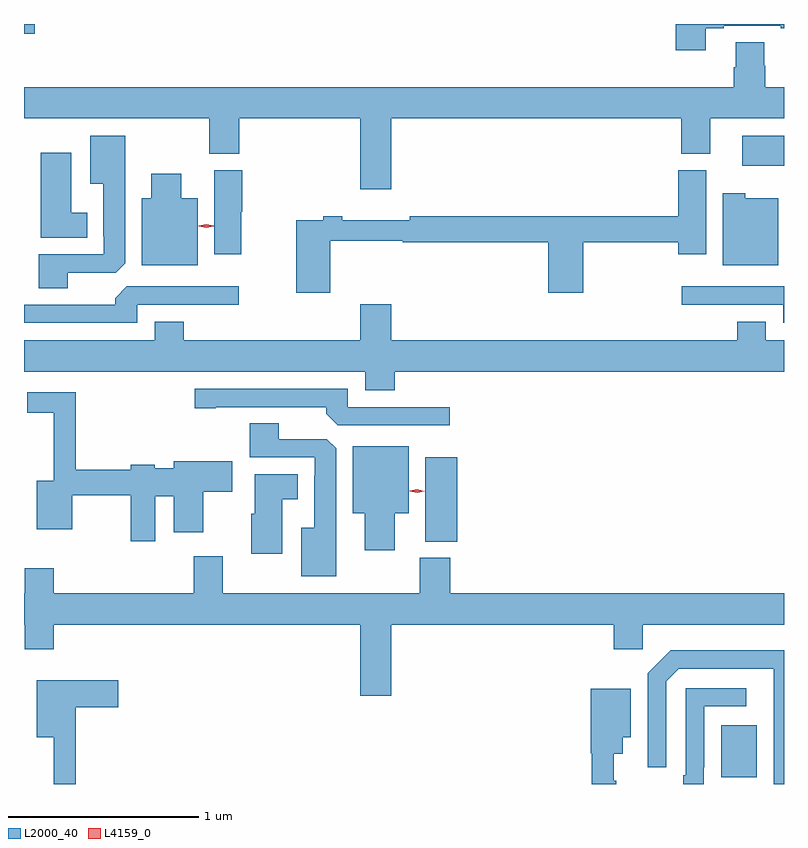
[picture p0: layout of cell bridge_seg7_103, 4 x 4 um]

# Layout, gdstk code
import gdstk
lib = gdstk.Library(unit=1e-6, precision=1e-09)
def R(c, l, rs):  # rectangles x0, y0, x1, y1
    for r in rs: c.add(gdstk.rectangle(r[:2], r[2:], *l))
def P(c, l, *ps):  # polygons
    for p in ps: c.add(gdstk.Polygon(p, *l))
L2000_40 = (2000, 40)
L4159_0 = (4159, 0)

bridge_seg7_103 = lib.new_cell('bridge_seg7_103')
R(bridge_seg7_103, L2000_40, [(1089.983,1009.137,1090.171,1009.411), (1088.426,1010.377,1088.594,1010.821), (1090.095,1012.355,1090.314,1012.513), (1086.314,1013.051,1086.37,1013.101)])
P(bridge_seg7_103, L2000_40, [(1089.901,1013.079),(1089.997,1013.079),(1089.997,1013.091),(1090.297,1013.091),(1090.297,1013.079),(1090.314,1013.079),(1090.314,1013.101),(1089.745,1013.101),(1089.745,1012.962),(1089.901,1012.962)],
  [(1088.248,1012.604),(1089.773,1012.604),(1089.773,1012.417),(1089.925,1012.417),(1089.925,1012.604),(1090.314,1012.604),(1090.314,1012.768),(1090.214,1012.768),(1090.214,1012.881),(1090.209,1012.881),(1090.209,1013.006),(1090.061,1013.006),(1090.061,1012.874),(1090.049,1012.874),(1090.049,1012.768),(1086.314,1012.768),(1086.314,1012.604),(1087.288,1012.604),(1087.288,1012.417),(1087.448,1012.417),(1087.448,1012.604),(1088.084,1012.604),(1088.084,1012.23),(1088.248,1012.23)],
  [(1086.544,1011.792),(1086.798,1011.792),(1086.847,1011.841),(1086.847,1012.513),(1086.662,1012.513),(1086.662,1012.259),(1086.731,1012.259),(1086.731,1011.985),(1086.735,1011.985),(1086.735,1011.888),(1086.392,1011.888),(1086.392,1011.709),(1086.544,1011.709)],
  [(1086.646,1012.108),(1086.562,1012.108),(1086.562,1012.423),(1086.401,1012.423),(1086.401,1011.977),(1086.646,1011.977)],
  [(1087.925,1011.96),(1088.308,1011.96),(1088.308,1011.952),(1089.074,1011.952),(1089.074,1011.687),(1089.257,1011.687),(1089.257,1011.952),(1089.758,1011.952),(1089.758,1011.888),(1089.904,1011.888),(1089.904,1012.332),(1089.758,1012.332),(1089.758,1012.088),(1088.344,1012.088),(1088.344,1012.069),(1087.988,1012.069),(1087.988,1012.088),(1087.888,1012.088),(1087.888,1012.068),(1087.747,1012.068),(1087.747,1011.687),(1087.925,1011.687)],
  [(1087.458,1012.113),(1087.463,1012.113),(1087.463,1012.332),(1087.316,1012.332),(1087.316,1011.888),(1087.458,1011.888)],
  [(1087.228,1012.183),(1087.141,1012.183),(1087.141,1012.312),(1086.983,1012.312),(1086.983,1012.183),(1086.935,1012.183),(1086.935,1011.83),(1087.228,1011.83)],
  [(1090.285,1012.183),(1090.11,1012.183),(1090.11,1012.21),(1089.992,1012.21),(1089.992,1011.83),(1090.285,1011.83)],
  [(1086.909,1011.624),(1087.444,1011.624),(1087.444,1011.72),(1086.855,1011.72),(1086.794,1011.658),(1086.794,1011.624),(1086.314,1011.624),(1086.314,1011.528),(1086.909,1011.528)],
  [(1090.314,1011.72),(1089.777,1011.72),(1089.777,1011.624),(1090.311,1011.624),(1090.311,1011.528),(1090.314,1011.528)],
  [(1088.264,1011.272),(1090.314,1011.272),(1090.314,1011.436),(1090.219,1011.436),(1090.219,1011.535),(1090.067,1011.535),(1090.067,1011.436),(1088.248,1011.436),(1088.248,1011.625),(1088.084,1011.625),(1088.084,1011.436),(1087.154,1011.436),(1087.154,1011.535),(1087.001,1011.535),(1087.001,1011.436),(1086.314,1011.436),(1086.314,1011.272),(1088.111,1011.272),(1088.111,1011.173),(1088.264,1011.173)],
  [(1088.554,1011.084),(1088.019,1011.084),(1088.019,1011.18),(1087.212,1011.18),(1087.212,1011.079),(1087.324,1011.079),(1087.324,1011.084),(1087.904,1011.084),(1087.904,1011.05),(1087.965,1010.988),(1088.554,1010.988)],
  [(1087.006,1010.615),(1087.103,1010.615),(1087.103,1010.427),(1087.258,1010.427),(1087.258,1010.638),(1087.411,1010.638),(1087.411,1010.8),(1087.103,1010.8),(1087.103,1010.762),(1087.002,1010.762),(1087.002,1010.78),(1086.877,1010.78),(1086.877,1010.756),(1086.587,1010.756),(1086.587,1011.162),(1086.33,1011.162),(1086.33,1011.054),(1086.47,1011.054),(1086.47,1010.698),(1086.38,1010.698),(1086.38,1010.441),(1086.567,1010.441),(1086.567,1010.62),(1086.877,1010.62),(1086.877,1010.379),(1087.006,1010.379)],
  [(1087.957,1010.867),(1087.908,1010.916),(1087.654,1010.916),(1087.654,1010.999),(1087.502,1010.999),(1087.502,1010.82),(1087.845,1010.82),(1087.845,1010.723),(1087.841,1010.723),(1087.841,1010.449),(1087.772,1010.449),(1087.772,1010.195),(1087.957,1010.195)],
  [(1088.266,1010.525),(1088.338,1010.525),(1088.338,1010.878),(1088.045,1010.878),(1088.045,1010.525),(1088.108,1010.525),(1088.108,1010.331),(1088.266,1010.331)],
  [(1087.672,1010.6),(1087.756,1010.6),(1087.756,1010.731),(1087.529,1010.731),(1087.529,1010.523),(1087.511,1010.523),(1087.511,1010.313),(1087.672,1010.313)],
  [(1088.248,1009.94),(1089.419,1009.94),(1089.419,1009.809),(1089.57,1009.809),(1089.57,1009.94),(1090.314,1009.94),(1090.314,1010.104),(1088.558,1010.104),(1088.558,1010.292),(1088.398,1010.292),(1088.398,1010.104),(1087.36,1010.104),(1087.36,1010.299),(1087.208,1010.299),(1087.208,1010.104),(1086.47,1010.104),(1086.47,1010.236),(1086.318,1010.236),(1086.318,1010.104),(1086.314,1010.104),(1086.314,1009.94),(1086.318,1009.94),(1086.318,1009.809),(1086.47,1009.809),(1086.47,1009.94),(1088.084,1009.94),(1088.084,1009.566),(1088.248,1009.566)],
  [(1090.314,1009.804),(1089.718,1009.804),(1089.597,1009.683),(1089.597,1009.188),(1089.693,1009.188),(1089.693,1009.641),(1089.759,1009.707),(1090.259,1009.707),(1090.259,1009.507),(1090.26,1009.507),(1090.26,1009.101),(1090.314,1009.101)],
  [(1086.587,1009.505),(1086.811,1009.505),(1086.811,1009.647),(1086.38,1009.647),(1086.38,1009.346),(1086.47,1009.346),(1086.47,1009.101),(1086.587,1009.101)],
  [(1089.891,1009.189),(1089.894,1009.189),(1089.894,1009.509),(1090.114,1009.509),(1090.114,1009.605),(1089.798,1009.605),(1089.798,1009.147),(1089.783,1009.147),(1089.783,1009.101),(1089.891,1009.101)],
  [(1089.43,1009.119),(1089.419,1009.119),(1089.419,1009.259),(1089.466,1009.259),(1089.466,1009.346),(1089.508,1009.346),(1089.508,1009.603),(1089.296,1009.603),(1089.296,1009.263),(1089.301,1009.263),(1089.301,1009.101),(1089.43,1009.101)])
P(bridge_seg7_103, L4159_0, [(1087.273,1012.028),(1087.235,1012.037),(1087.235,1012.038),(1087.235,1012.038),(1087.273,1012.048),(1087.312,1012.038),(1087.312,1012.038),(1087.312,1012.037)],
  [(1088.383,1010.633),(1088.345,1010.643),(1088.345,1010.643),(1088.345,1010.644),(1088.383,1010.653),(1088.42,1010.642),(1088.42,1010.642),(1088.42,1010.642)])

lib.write_gds('bridge_seg7_103.gds')
